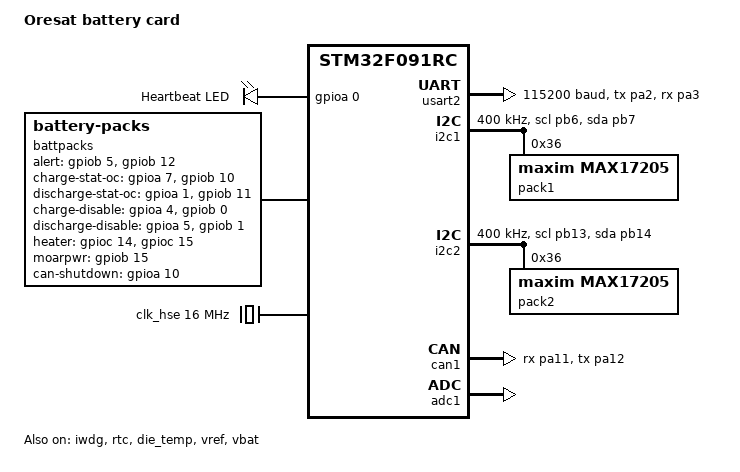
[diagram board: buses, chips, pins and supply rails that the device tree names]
/*
 * Copyright (c) 2017 Bobby Noelte
 *
 * SPDX-License-Identifier: Apache-2.0
 */

/dts-v1/;
#include <st/f0/stm32f091Xc.dtsi>
#include <st/f0/stm32f091r(b-c)tx-pinctrl.dtsi>
#include <zephyr/dt-bindings/gpio/gpio.h>
#include <zephyr/dt-bindings/input/input-event-codes.h>

/ {
	model = "Oresat battery card";
	compatible = "st,stm32f091rc-nucleo";

	chosen {
		zephyr,console = &usart2;
		zephyr,shell-uart = &usart2;
		zephyr,sram = &sram0;
		zephyr,flash = &flash0;
		zephyr,canbus = &can1;
	};

	leds: leds {
		compatible = "gpio-leds";

		amber_led_1: led_1 {
			gpios = <&gpioa 0 GPIO_ACTIVE_HIGH>;
			label = "Heartbeat LED";
			status = "okay";
		};
	};

	gpio_keys {
		compatible = "gpio-keys";

		user_button: button {
			label = "User";
			gpios = <&gpioc 13 GPIO_ACTIVE_LOW>;
			zephyr,code = <INPUT_KEY_0>;
			status = "disabled";
		};
	};

	pwmleds: pwmleds {
		compatible = "pwm-leds";
		status = "disabled";

		amber_pwm_led: amber_pwm_led {
			pwms = <&pwm2 1 PWM_MSEC(20) PWM_POLARITY_NORMAL>;
		};
	};

	battpacks: oresat_battery_packs {
		compatible = "battery-packs";
		#gpio-cells = <2>;
		alert-gpios = <&gpiob 5 0>, <&gpiob 12 0>;
		charge-stat-oc-gpios = <&gpioa 7 0>, <&gpiob 10 0>;
		discharge-stat-oc-gpios = <&gpioa 1 0>, <&gpiob 11 0>;
		charge-disable-gpios = <&gpioa 4 GPIO_ACTIVE_HIGH>, <&gpiob 0 GPIO_ACTIVE_HIGH>;
		discharge-disable-gpios = <&gpioa 5 GPIO_ACTIVE_HIGH>, <&gpiob 1 GPIO_ACTIVE_HIGH>;
		heater-gpios = <&gpioc 14 GPIO_ACTIVE_HIGH>, <&gpioc 15 GPIO_ACTIVE_HIGH>;
		moarpwr-gpios = <&gpiob 15 GPIO_ACTIVE_HIGH>;
		can-shutdown-gpios = <&gpioa 10 GPIO_ACTIVE_HIGH>;
		can-silent-gpios = <&gpioa 9 GPIO_ACTIVE_HIGH>;
	};

	aliases {
		led0 = &amber_led_1;
		sw0 = &user_button;
		pwm-led0 = &amber_pwm_led;
		watchdog0 = &iwdg;
		die-temp0 = &die_temp;
		volt-sensor0 = &vref;
		volt-sensor1 = &vbat;
	};
};

&clk_hse {
        /delete-property/ hse-bypass;
        clock-frequency = <DT_FREQ_M(16)>; // ERS board 16MHz crystal
        status = "okay";
};

&clk_lsi {
        status = "okay";
};

&pll {
        prediv = <1>;
        mul = <3>;
        clocks = <&clk_hse>;
        status = "okay";
};

&rcc {
        clocks = <&pll>;
        clock-frequency = <DT_FREQ_M(48)>;
        ahb-prescaler = <1>;
        apb1-prescaler = <1>;
        status = "okay";
};

&usart1 {
	pinctrl-0 = <&usart1_tx_pb6 &usart1_rx_pb7>;
	pinctrl-names = "default";
	current-speed = <115200>;
	status = "disabled";
};

&usart2 {
	pinctrl-0 = <&usart2_tx_pa2 &usart2_rx_pa3>;
	pinctrl-names = "default";
	current-speed = <115200>;
	status = "okay";
};

&i2c1 {
	pinctrl-0 = <&i2c1_scl_pb6 &i2c1_sda_pb7>;
	pinctrl-names = "default";
	status = "okay";
	clock-frequency = <I2C_BITRATE_FAST>;

	pack1: max17205@36 {
		compatible = "maxim,max17205";
		reg = <0x36>;
		/* NOTE: this device has two I2C slave addresses. They are used to access
		 * different sets of register addresses. Ensure your system does not place
		 * another device on the I2C bus which responds to the below aux-addr.
		 */
		aux-addr = <0x0b>;
		num-cells = <2>;
		cell-bal-thresh-voltage = <40>;
		pack-flags = <0x3e00>;
		rsense-mohms = <10>;
		config = <0x0211>;
		status = "okay";
	};
};

&i2c2 {
	/* Pin conflict with can1. Enable only with can1 disabled. */
	pinctrl-0 = <&i2c2_scl_pb13 &i2c2_sda_pb14>;
	pinctrl-names = "default";
	status = "okay";
	clock-frequency = <I2C_BITRATE_FAST>;

	pack2: max17205@36 {
		compatible = "maxim,max17205";
		reg = <0x36>;
		/* NOTE: this device has two I2C slave addresses. They are used to access
		 * different sets of register addresses. Ensure your system does not place
		 * another device on the I2C bus which responds to the below aux-addr.
		 */
		aux-addr = <0x0b>;
		num-cells = <2>;
		cell-bal-thresh-voltage = <40>;
		pack-flags = <0x3e00>;
		rsense-mohms = <10>;
		config = <0x0211>;
		status = "okay";
	};
};


&can1 {
	pinctrl-0 = <&can_rx_pa11 &can_tx_pa12>;
	pinctrl-names = "default";
	status = "okay";
};

&spi1 {
	pinctrl-0 = <&spi1_sck_pa5 &spi1_miso_pa6 &spi1_mosi_pa7>;
	pinctrl-names = "default";
	status = "disabled";
};

&spi2 {
	pinctrl-0 = <&spi2_sck_pb13 &spi2_miso_pb14 &spi2_mosi_pb15>;
	pinctrl-names = "default";
	status = "disabled";
};

&iwdg {
	status = "okay";
};

&rtc {
	clocks = <&rcc STM32_CLOCK_BUS_APB1 0x10000000>,
		 <&rcc STM32_SRC_LSI RTC_SEL(2)>;
	status = "okay";
};

&flash0 {
	partitions {
		compatible = "fixed-partitions";
		#address-cells = <1>;
		#size-cells = <1>;

		/* Set 8Kb of storage just before storage_partition defined below */
		hist_partition: partition@3e000 {
			label = "hist";
			reg = <0x0003e000 DT_SIZE_K(8)>;
		};
		/* Set 4Kb of storage at the end of the 256Kb of flash */
		/*storage_partition: partition@3f000 {
			label = "storage";
			reg = <0x0003f000 DT_SIZE_K(4)>;
		};*/
	};
};

&adc1 {
	//pinctrl-0 = <&adc_in6_pa6>; /* currently routed to pa8, which is not ADC-capable */
	//pinctrl-names = "default";
	st,adc-clock-source = "SYNC";
	st,adc-prescaler = <2>;
	status = "okay"; /* disable for now */
};

&die_temp {
	status = "okay";
};

&dac1 {
	status = "disabled";
	pinctrl-0 = <&dac_out1_pa4>;
	pinctrl-names = "default";
};

&dma1 {
	status = "okay";
};

&timers2 {
	st,prescaler = <10000>;
	status = "disabled";

	pwm2: pwm {
		/* NOTE: disabled by default, PWM2 conflicts with SPI1 */
		pinctrl-0 = <&tim2_ch1_pa0>;
		pinctrl-names = "default";
		status = "disabled";
	};
};

&vref {
	status = "okay";
};

&vbat {
	status = "okay";
};
